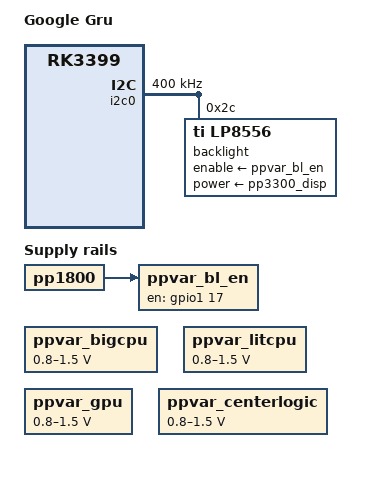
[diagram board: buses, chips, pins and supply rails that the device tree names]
/*
 * Google Gru-Gru Rev 0 board device tree source
 *
 * Copyright 2016 Google, Inc
 *
 * This file is dual-licensed: you can use it either under the terms
 * of the GPL or the X11 license, at your option. Note that this dual
 * licensing only applies to this file, and not this project as a
 * whole.
 *
 *  a) This file is free software; you can redistribute it and/or
 *     modify it under the terms of the GNU General Public License as
 *     published by the Free Software Foundation; either version 2 of the
 *     License, or (at your option) any later version.
 *
 *     This file is distributed in the hope that it will be useful,
 *     but WITHOUT ANY WARRANTY; without even the implied warranty of
 *     MERCHANTABILITY or FITNESS FOR A PARTICULAR PURPOSE.  See the
 *     GNU General Public License for more details.
 *
 *  Or, alternatively,
 *
 *  b) Permission is hereby granted, free of charge, to any person
 *     obtaining a copy of this software and associated documentation
 *     files (the "Software"), to deal in the Software without
 *     restriction, including without limitation the rights to use,
 *     copy, modify, merge, publish, distribute, sublicense, and/or
 *     sell copies of the Software, and to permit persons to whom the
 *     Software is furnished to do so, subject to the following
 *     conditions:
 *
 *     The above copyright notice and this permission notice shall be
 *     included in all copies or substantial portions of the Software.
 *
 *     THE SOFTWARE IS PROVIDED "AS IS", WITHOUT WARRANTY OF ANY KIND,
 *     EXPRESS OR IMPLIED, INCLUDING BUT NOT LIMITED TO THE WARRANTIES
 *     OF MERCHANTABILITY, FITNESS FOR A PARTICULAR PURPOSE AND
 *     NONINFRINGEMENT. IN NO EVENT SHALL THE AUTHORS OR COPYRIGHT
 *     HOLDERS BE LIABLE FOR ANY CLAIM, DAMAGES OR OTHER LIABILITY,
 *     WHETHER IN AN ACTION OF CONTRACT, TORT OR OTHERWISE, ARISING
 *     FROM, OUT OF OR IN CONNECTION WITH THE SOFTWARE OR THE USE OR
 *     OTHER DEALINGS IN THE SOFTWARE.
 */

/dts-v1/;
#include "rk3399-gru-gru.dtsi"
#include "rk3399-early-opp.dtsi"

/ {
	model = "Google Gru";
	compatible = "google,gru-rev0", "google,gru",
		     "rockchip,rk3399";

	ppvar_bl_en: ppvar-bl-en {
		compatible = "regulator-fixed";
		regulator-name = "ppvar_bl_en";
		pinctrl-names = "default";
		pinctrl-0 = <&bl_en>;

		enable-active-high;
		gpio = <&gpio1 17 GPIO_ACTIVE_HIGH>;

		vin-supply = <&pp1800>;
	};
};

/* Adjust DVFS rails back to wider range */

&ppvar_bigcpu {
	regulator-min-microvolt = <800000>;
	regulator-max-microvolt = <1500000>;
};

&ppvar_litcpu {
	regulator-min-microvolt = <800000>;
	regulator-max-microvolt = <1500000>;
};

&ppvar_gpu {
	regulator-min-microvolt = <800000>;
	regulator-max-microvolt = <1500000>;
};

&ppvar_centerlogic {
	regulator-min-microvolt = <800000>;
	regulator-max-microvolt = <1500000>;
};

&cpu_b0 {
	dynamic-power-coefficient = <1068>;
};

&cpu_l0 {
	dynamic-power-coefficient = <121>;
};

ap_i2c_dvs: &i2c0 {
	status = "okay";

	clock-frequency = <400000>;

	/* These are relatively safe rise/fall times; TODO: measure */
	i2c-scl-falling-time-ns = <50>;
	i2c-scl-rising-time-ns = <300>;

	/* LP8556 */
	backlight: backlight@2c {
		compatible = "ti,lp8556";
		reg = <0x2c>;

		bl-name = "lcd-bl";

		dev-ctrl = /bits/ 8 <0x85>;
		init-brt = /bits/ 8 <0x80>;

		enable-supply = <&ppvar_bl_en>;
		power-supply = <&pp3300_disp>;
	};
};

&gpu_power_model {
	dynamic-power = <1780>;
};

&soc_thermal {
	sustainable-power = <2600>; /* milliwatts */

	cooling-maps {
		map0 {
			trip = <&target>;
			cooling-device =
				<&cpu_l0 THERMAL_NO_LIMIT THERMAL_NO_LIMIT>;
			contribution = <2048>;
		};
		map1 {
			trip = <&target>;
			cooling-device =
				<&cpu_b0 THERMAL_NO_LIMIT THERMAL_NO_LIMIT>;
			contribution = <1024>;
		};
		map2 {
			trip = <&target>;
			cooling-device =
				<&gpu THERMAL_NO_LIMIT THERMAL_NO_LIMIT>;
			contribution = <2048>;
		};
	};
};

/* PINCTRL: always below everything else */

&pinctrl {
	/delete-node/ gps;
};

/* DON'T PUT ANYTHING BELOW HERE.  PUT IT ABOVE PINCTRL */
/* DON'T PUT ANYTHING BELOW HERE.  PUT IT ABOVE PINCTRL */
/* DON'T PUT ANYTHING BELOW HERE.  PUT IT ABOVE PINCTRL */
